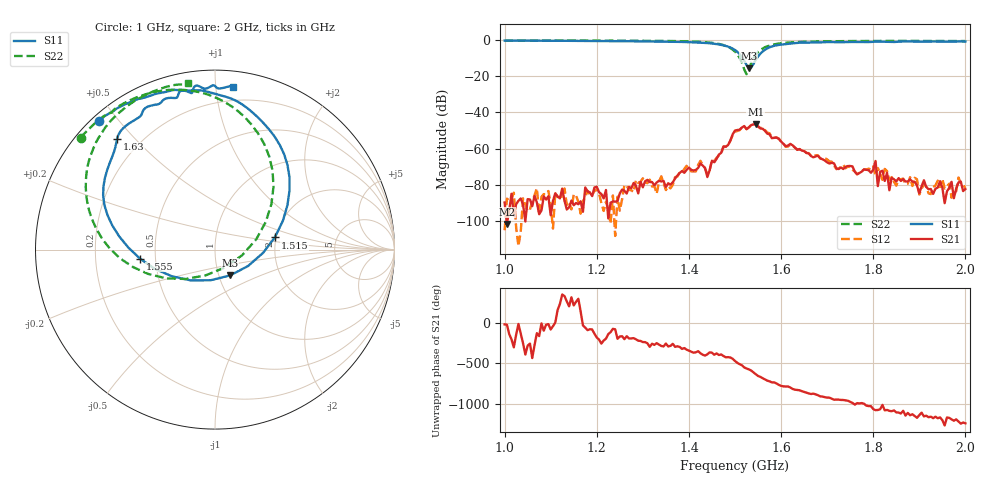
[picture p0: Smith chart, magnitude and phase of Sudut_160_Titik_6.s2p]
# Hz S RI R 50
! CMT, C1220, 16058040, 17.2.0/1
! Date: 14/08/2018 12:22:22
! Data: Format (Calibration Info)
! Freq  S11: Re/Im (F2)  S21: Re/Im (F2)  S12: Re/Im (F2)  S22: Re/Im (F2)
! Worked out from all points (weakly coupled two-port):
!   201 points, 1 GHz to 2 GHz, reference 50 ohm
!   highest |S21| = -46.46 dB at 1.545 GHz (marker M1); lowest = -101.5 dB at 1.005 GHz (marker M2)
!   lowest |S11| = -15.6 dB at 1.53 GHz (marker M3), VSWR 1.40, Z = 56.6 - j16.7 ohm
!   |S11| at or under -10 dB: 1.517 GHz to 1.548 GHz (31.03 MHz wide, 2.03 % of centre)
!   |S22| runs from -18.9 to -0.2 dB; largest |S21 - S12| = 0.00033
!   S11 on the Smith chart (normalised r, x): 1 GHz: 0.02, +0.44; 1.515 GHz: 1.97, +0.30; 1.555 GHz: 0.41, -0.05; 1.63 GHz: 0.12, +0.45; 2 GHz: 0.10, +1.11
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1e9  -0.6454 0.7156  3.03e-05 -1.21e-05  5.54e-06 -7.89e-07  -0.7481 0.6242
1.005e9  -0.6382 0.7208  7.6e-06 -3.62e-06  2.11e-05 -3.61e-05  -0.7445 0.6283
1.17e9  -0.4679 0.8235  1.47e-05 -1.05e-05  3.29e-05 -1.36e-05  -0.6112 0.7488
1.335e9  -0.2017 0.8881  6.13e-08 0.00013  1.47e-05 0.000121  -0.3962 0.8623
1.365e9  -0.1121 0.8877  -1.98e-05 0.000117  8.56e-06 0.0001  -0.3286 0.8799
1.425e9  0.0835 0.8439  0.000375 -0.000105  0.000446 -0.000122  -0.1158 0.8825
1.44e9  0.1432 0.8143  0.000145 -7.89e-05  0.000162 -0.000113  -0.0368 0.8629
1.5e9  0.4152 0.33  -0.00112 -0.00298  -0.00106 -0.00277  0.3259 0.3504
1.515e9  0.3331 0.0678  -0.00366 -0.00115  -0.00362 -0.00125  0.229 0.0562
1.53e9  0.0843 -0.1439  -0.00325 0.0021  -0.00328 0.00202  -0.0509 -0.1432
1.545e9  -0.2399 -0.1486  0.000113 0.00475  -5.82e-05 0.00471  -0.3716 -0.1357
1.555e9  -0.4173 -0.0507  0.00205 0.00299  0.00199 0.00317  -0.5274 -0.0499
1.63e9  -0.5456 0.6163  -0.000218 -0.00106  -0.000172 -0.00106  -0.6853 0.544
1.67e9  -0.4257 0.7354  -0.000501 -0.000287  -0.000524 -0.00031  -0.6176 0.6712
1.765e9  -0.2457 0.8456  -1.16e-05 0.000194  -3.1e-05 0.000198  -0.4694 0.8141
1.805e9  -0.1946 0.8812  0.000454 5.69e-05  0.000132 0.000123  -0.4113 0.8497
1.81e9  -0.1867 0.8855  9.17e-05 1.52e-05  3.57e-05 0.000291  -0.4044 0.853
1.82e9  -0.1658 0.8846  7.75e-05 0.000234  0.000136 2.31e-05  -0.3908 0.8599
1.825e9  -0.1541 0.881  0.000128 1.13e-05  0.000275 3.04e-05  -0.3842 0.863
1.83e9  -0.1435 0.8762  0.000213 3.75e-05  0.00024 2.04e-05  -0.3775 0.8663
1.835e9  -0.1351 0.8726  7.12e-05 -1.3e-06  0.000134 -2.45e-05  -0.3709 0.8697
2e9  0.098 0.9054  -6.9e-05 -3.4e-05  -8.13e-05 -8.04e-07  -0.1484 0.9278
